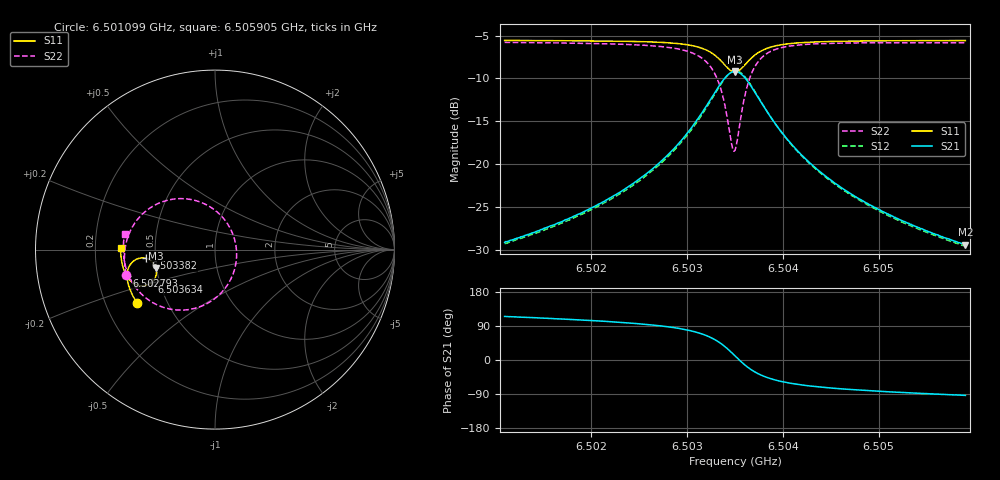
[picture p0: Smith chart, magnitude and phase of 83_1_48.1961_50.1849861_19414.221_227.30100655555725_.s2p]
#  HZ  S  RI  R  50.00
! Rohde & Schwarz Vector Network Analyzer
! Rohde-Schwarz,ZNB20-2Port,1311601062101988,3.16
! Created: UTC 3/20/2024, 11:39:45 AM
! freq[Hz]  re:S11  im:S11  re:S21  im:S21  re:S12  im:S12  re:S22  im:S22
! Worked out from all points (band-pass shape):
!   401 points, 6.501099 GHz to 6.505905 GHz, reference 50 ohm
!   highest |S21| = -9.18 dB at 6.503502 GHz (marker M1); lowest = -29.4 dB at 6.505905 GHz (marker M2)
!   |S21| within 3 dB of the highest: 6.503261 GHz to 6.503741 GHz (480.2 kHz wide, 0.00738 % of centre)
!   lowest |S11| = -9.3 dB at 6.503502 GHz (marker M3), VSWR 2.05, Z = 24.8 - j5.74 ohm
!   |S11| at or under -10 dB: nowhere
!   |S22| runs from -18.5 to -5.8 dB; largest |S21 - S12| = 0.012
!   S11 on the Smith chart (normalised r, x): 6.501099 GHz: 0.34, -0.28; 6.502793 GHz: 0.33, -0.13; 6.503382 GHz: 0.44, -0.05; 6.503634 GHz: 0.45, -0.20; 6.505905 GHz: 0.31, +0.01
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6.5010988e9  -0.4331 -0.2995  -0.0148 0.0318  -0.013 0.0319  -0.494 -0.1395
6.5019038e9  -0.4665 -0.2387  -0.0138 0.0503  -0.0114 0.0499  -0.5044 -0.0512
6.5023243e9  -0.4809 -0.2005  -0.0109 0.0692  -0.00794 0.0679  -0.5002 0.0107
6.5027088e9  -0.4894 -0.1568  -0.000896 0.1014  0.00288 0.0988  -0.4777 0.0911
6.5027929e9  -0.4899 -0.1451  0.00399 0.1121  0.00783 0.109  -0.467 0.1143
6.5029972e9  -0.4852 -0.1112  0.0273 0.1476  0.0309 0.1428  -0.4184 0.1836
6.5031413e9  -0.4705 -0.0809  0.0658 0.1817  0.0686 0.1756  -0.3436 0.2432
6.5032855e9  -0.4315 -0.0512  0.1498 0.2108  0.1504 0.2044  -0.1902 0.284
6.5033336e9  -0.4097 -0.0465  0.1935 0.2091  0.1936 0.2034  -0.1135 0.2746
6.5033816e9  -0.3837 -0.0488  0.2436 0.1933  0.2436 0.1885  -0.0276 0.2385
6.5034657e9  -0.3399 -0.0792  0.3233 0.1161  0.3259 0.1117  0.0997 0.0861
6.5035018e9  -0.329 -0.102  0.3411 0.0658  0.3449 0.0603  0.1202 -0.00838
6.5035258e9  -0.326 -0.1187  0.3443 0.0303  0.3485 0.0233  0.117 -0.0738
6.5035618e9  -0.3284 -0.1435  0.3364 -0.0211  0.34 -0.0305  0.0878 -0.165
6.5036339e9  -0.3513 -0.1815  0.288 -0.0989  0.2877 -0.1108  -0.0266 -0.2902
6.5037301e9  -0.3931 -0.2013  0.2077 -0.1427  0.2024 -0.153  -0.1902 -0.337
6.5038862e9  -0.4433 -0.194  0.1177 -0.1415  0.1102 -0.1471  -0.3537 -0.2913
6.5040545e9  -0.4728 -0.1726  0.0687 -0.12  0.0622 -0.1224  -0.433 -0.2224
6.5043068e9  -0.4955 -0.1414  0.0351 -0.0924  0.0303 -0.093  -0.4814 -0.1432
6.5046672e9  -0.5112 -0.1028  0.0155 -0.0679  0.012 -0.0675  -0.5044 -0.0669
6.5051118e9  -0.5207 -0.0607  0.00522 -0.0504  0.003 -0.0496  -0.5108 -0.000916
6.5059047e9  -0.5261 0.00711  -0.00202 -0.0339  -0.00325 -0.0331  -0.5036 0.0857
